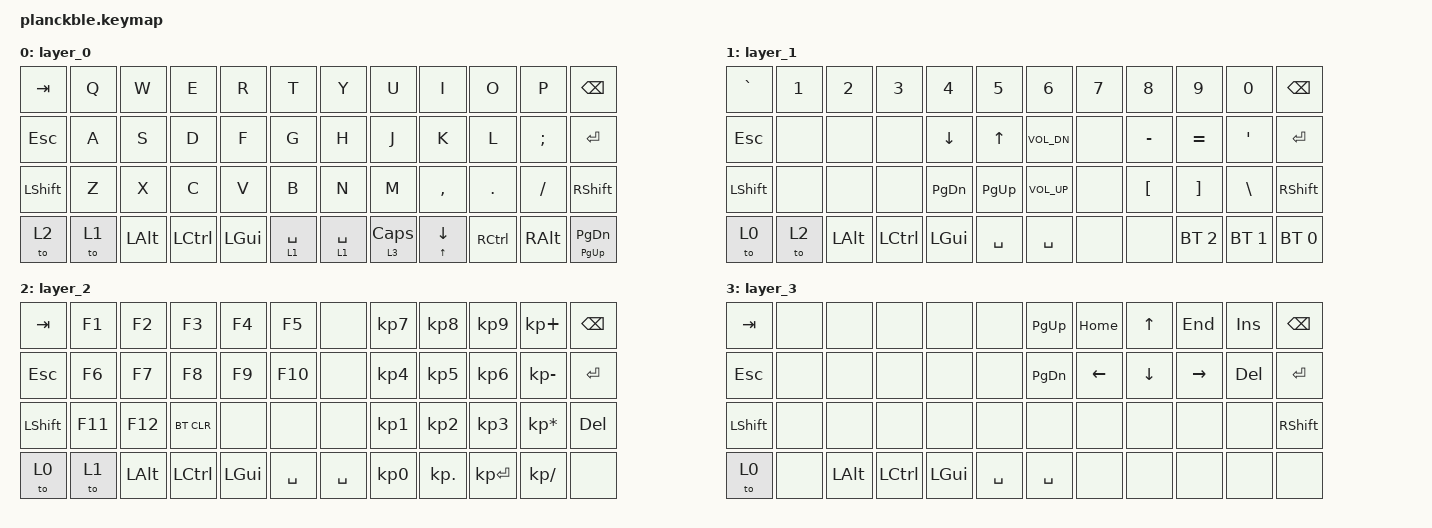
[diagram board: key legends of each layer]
/*
 * Copyright (c) 2021 The ZMK Contributors
 *
 * SPDX-License-Identifier: MIT
 */

#include <behaviors.dtsi>
#include <dt-bindings/zmk/bt.h>
#include <dt-bindings/zmk/keys.h>

&lt {
    flavor = "balanced";
    tapping-term-ms = <170>;
};

/ {
    combos { compatible = "zmk,combos"; };

    keymap {
        compatible = "zmk,keymap";

        layer_0 {
            bindings = <
&kp TAB    &kp Q  &kp W     &kp E      &kp R     &kp T        &kp Y        &kp U       &kp I        &kp O      &kp P     &kp BSPC
&kp ESC    &kp A  &kp S     &kp D      &kp F     &kp G        &kp H        &kp J       &kp K        &kp L      &kp SEMI  &kp ENTER
&kp LSHFT  &kp Z  &kp X     &kp C      &kp V     &kp B        &kp N        &kp M       &kp COMMA    &kp DOT    &kp FSLH  &kp RSHFT
&to 2      &to 1  &kp LALT  &kp LCTRL  &kp LGUI  &lt 1 SPACE  &lt 1 SPACE  &lt 3 CAPS  &mt UP DOWN  &kp RCTRL  &kp RALT  &mt PG_UP PG_DN
            >;
        };

        layer_1 {
            bindings = <
&kp GRAVE  &kp N1  &kp N2    &kp N3     &kp N4     &kp N5     &kp N6        &kp N7  &kp N8     &kp N9        &kp N0        &kp BSPC
&kp ESC    &none   &none     &none      &kp DOWN   &kp UP     &kp C_VOL_DN  &none   &kp MINUS  &kp EQUAL     &kp SQT       &kp ENTER
&kp LSHFT  &none   &none     &none      &kp PG_DN  &kp PG_UP  &kp C_VOL_UP  &none   &kp LBKT   &kp RBKT      &kp BSLH      &kp RSHFT
&to 0      &to 2   &kp LALT  &kp LCTRL  &kp LGUI   &kp SPACE  &kp SPACE     &none   &none      &bt BT_SEL 2  &bt BT_SEL 1  &bt BT_SEL 0
            >;
        };

        layer_2 {
            bindings = <
&kp TAB    &kp F1   &kp F2    &kp F3      &kp F4    &kp F5     &none      &kp KP_N7  &kp KP_N8   &kp KP_N9     &kp KP_PLUS      &kp BSPC
&kp ESC    &kp F6   &kp F7    &kp F8      &kp F9    &kp F10    &none      &kp KP_N4  &kp KP_N5   &kp KP_N6     &kp KP_MINUS     &kp ENTER
&kp LSHFT  &kp F11  &kp F12   &bt BT_CLR  &none     &none      &none      &kp KP_N1  &kp KP_N2   &kp KP_N3     &kp KP_MULTIPLY  &kp DEL
&to 0      &to 1    &kp LALT  &kp LCTRL   &kp LGUI  &kp SPACE  &kp SPACE  &kp KP_N0  &kp KP_DOT  &kp KP_ENTER  &kp KP_DIVIDE    &none
            >;
        };

        layer_3 {
            bindings = <
&kp TAB    &none  &none     &none      &none     &none      &kp PG_UP  &kp HOME  &kp UP    &kp END    &kp INS  &kp BSPC
&kp ESC    &none  &none     &none      &none     &none      &kp PG_DN  &kp LEFT  &kp DOWN  &kp RIGHT  &kp DEL  &kp ENTER
&kp LSHFT  &none  &none     &none      &none     &none      &none      &none     &none     &none      &none    &kp RSHFT
&to 0      &none  &kp LALT  &kp LCTRL  &kp LGUI  &kp SPACE  &kp SPACE  &none     &none     &none      &none    &none
            >;
        };
    };
};
